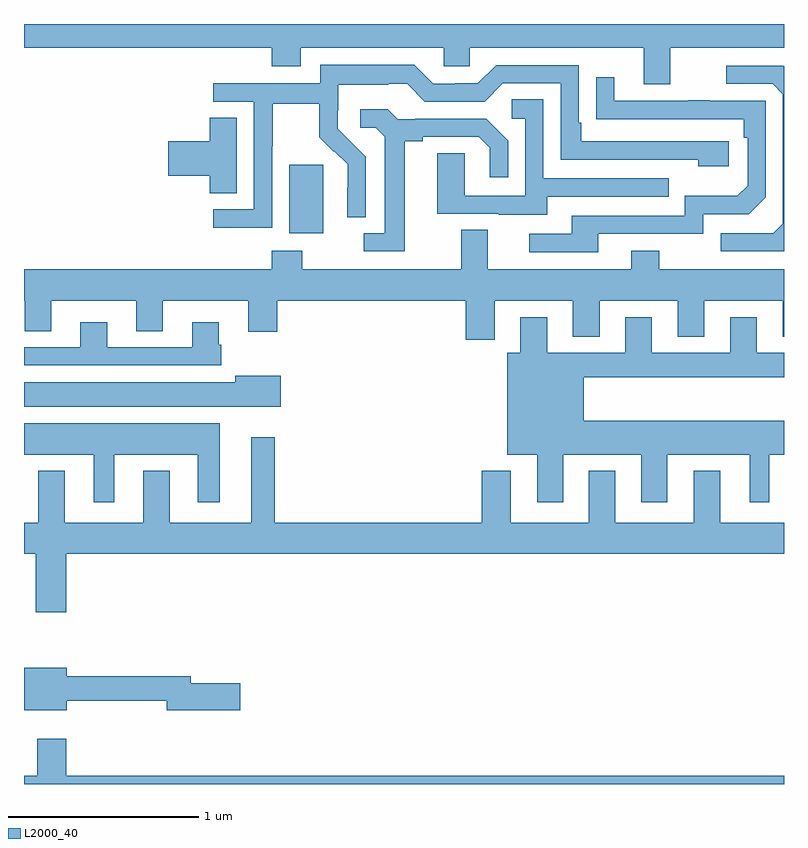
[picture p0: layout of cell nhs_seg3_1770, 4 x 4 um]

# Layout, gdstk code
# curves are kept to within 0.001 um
import gdstk
lib = gdstk.Library(unit=1e-6, precision=1e-09)
def R(c, l, rs):  # rectangles x0, y0, x1, y1
    for r in rs: c.add(gdstk.rectangle(r[:2], r[2:], *l))
def P(c, l, *ps):  # polygons
    for p in ps: c.add(gdstk.Polygon(p, *l))
L2000_40 = (2000, 40)

nhs_seg3_1770 = lib.new_cell('nhs_seg3_1770')
R(nhs_seg3_1770, L2000_40, [(204.395,673.298,204.574,673.659)])
P(nhs_seg3_1770, L2000_40, [(206.401,674.276),(207,674.276),(207,674.4),(203,674.4),(203,674.276),(204.305,674.276),(204.305,674.177),(204.457,674.177),(204.457,674.276),(205.209,674.276),(205.209,674.178),(205.347,674.178),(205.347,674.276),(206.261,674.276),(206.261,674.082),(206.401,674.082)],
  [(204.306,673.756),(204.309,673.756),(204.309,673.98),(204.553,673.98),(204.553,673.805),(204.63,673.728),(204.633,673.731),(204.704,673.661),(204.704,673.538),(204.702,673.538),(204.702,673.384),(204.798,673.384),(204.798,673.702),(204.652,673.85),(204.652,673.947),(204.654,673.947),(204.654,674.081),(204.917,674.081),(204.917,674.085),(205.017,674.085),(205.11,673.992),(205.425,673.992),(205.521,674.088),(205.824,674.088),(205.824,673.686),(206.549,673.686),(206.549,673.652),(206.71,673.652),(206.71,673.782),(205.933,673.782),(205.933,673.879),(205.92,673.879),(205.92,674.184),(205.485,674.184),(205.389,674.088),(205.271,674.088),(205.271,674.085),(205.155,674.085),(205.055,674.185),(204.558,674.185),(204.558,674.088),(203.997,674.088),(203.997,673.992),(204.21,673.992),(204.21,673.425),(203.997,673.425),(203.997,673.327),(204.306,673.327)],
  [(207,674.178),(206.997,674.181),(206.697,674.181),(206.697,674.085),(206.94,674.085),(206.994,674.031),(206.994,673.35),(206.943,673.299),(206.667,673.299),(206.667,673.203),(207,673.203)],
  [(206.023,673.296),(206.574,673.296),(206.574,673.398),(206.814,673.398),(206.904,673.488),(206.904,673.995),(206.609,673.995),(206.609,674),(206.497,674),(206.497,673.995),(206.107,673.995),(206.107,674.119),(206.011,674.119),(206.011,673.9),(206.788,673.899),(206.788,673.802),(206.808,673.802),(206.808,673.548),(206.755,673.495),(206.478,673.495),(206.478,673.392),(205.883,673.392),(205.883,673.296),(205.659,673.296),(205.659,673.2),(206.023,673.2)],
  [(205.753,673.491),(206.393,673.491),(206.393,673.587),(205.734,673.587),(205.734,674.003),(205.566,674.003),(205.566,673.902),(205.638,673.902),(205.638,673.497),(205.32,673.497),(205.32,673.721),(205.175,673.721),(205.175,673.401),(205.499,673.401),(205.499,673.397),(205.753,673.397)],
  [(205.003,673.784),(205.099,673.784),(205.099,673.806),(205.394,673.806),(205.451,673.749),(205.451,673.593),(205.548,673.593),(205.548,673.786),(205.432,673.902),(205.06,673.902),(205.06,673.899),(204.966,673.899),(204.914,673.951),(204.771,673.951),(204.771,673.854),(204.852,673.854),(204.899,673.807),(204.899,673.299),(204.789,673.299),(204.789,673.203),(205.003,673.203)],
  [(204.121,673.907),(203.978,673.907),(203.978,673.784),(203.76,673.784),(203.76,673.601),(203.978,673.601),(203.978,673.51),(204.121,673.51)],
  [(205.477,672.944),(205.889,672.944),(205.889,672.755),(206.029,672.755),(206.029,672.944),(206.441,672.944),(206.441,672.755),(206.581,672.755),(206.581,672.944),(206.993,672.944),(206.993,672.755),(207,672.755),(207,673.108),(206.343,673.108),(206.343,673.207),(206.195,673.207),(206.195,673.108),(205.441,673.108),(205.441,673.316),(205.301,673.316),(205.301,673.108),(204.465,673.108),(204.465,673.207),(204.305,673.207),(204.305,673.108),(203,673.108),(203,672.944),(203.003,672.944),(203.003,672.784),(203.143,672.784),(203.143,672.944),(203.591,672.944),(203.591,672.784),(203.731,672.784),(203.731,672.944),(204.179,672.944),(204.179,672.78),(204.332,672.78),(204.332,672.944),(205.325,672.944),(205.325,672.738),(205.477,672.738)],
  [(205.837,672.134),(206.249,672.134),(206.249,671.883),(206.386,671.883),(206.386,672.134),(206.819,672.134),(206.819,671.883),(206.923,671.883),(206.923,672.134),(207,672.134),(207,672.313),(205.945,672.313),(205.945,672.542),(207,672.542),(207,672.67),(206.857,672.67),(206.857,672.856),(206.717,672.856),(206.717,672.67),(206.305,672.67),(206.305,672.856),(206.165,672.856),(206.165,672.67),(205.753,672.67),(205.753,672.856),(205.613,672.856),(205.613,672.67),(205.544,672.67),(205.544,672.134),(205.7,672.134),(205.7,671.883),(205.837,671.883)],
  [(204.038,672.711),(204.025,672.711),(204.025,672.829),(203.885,672.829),(203.885,672.699),(203.437,672.699),(203.437,672.829),(203.297,672.829),(203.297,672.699),(203,672.699),(203,672.603),(204.038,672.603)],
  [(204.352,672.55),(204.113,672.55),(204.113,672.514),(203,672.514),(203,672.386),(204.352,672.386)],
  [(203.476,672.134),(203.915,672.134),(203.915,671.883),(204.031,671.883),(204.031,672.298),(203,672.298),(203,672.134),(203.366,672.134),(203.366,671.883),(203.476,671.883)],
  [(203.222,671.612),(207,671.612),(207,671.776),(206.665,671.776),(206.665,672.049),(206.525,672.049),(206.525,671.776),(206.113,671.776),(206.113,672.049),(205.973,672.049),(205.973,671.776),(205.561,671.776),(205.561,672.049),(205.409,672.049),(205.409,671.776),(204.319,671.776),(204.319,672.226),(204.197,672.226),(204.197,671.776),(203.767,671.776),(203.767,672.049),(203.627,672.049),(203.627,671.776),(203.215,671.776),(203.215,672.049),(203.075,672.049),(203.075,671.776),(203,671.776),(203,671.612),(203.062,671.612),(203.062,671.304),(203.222,671.304)],
  [(203.224,670.839),(203.75,670.839),(203.75,670.789),(204.139,670.789),(204.139,670.931),(203.878,670.931),(203.878,670.967),(203.224,670.967),(203.224,671.011),(203,671.011),(203,670.787),(203.224,670.787)],
  [(207,670.444),(203.222,670.444),(203.222,670.639),(203.069,670.639),(203.069,670.444),(203,670.444),(203,670.4),(207,670.4)])

lib.write_gds('nhs_seg3_1770.gds')
